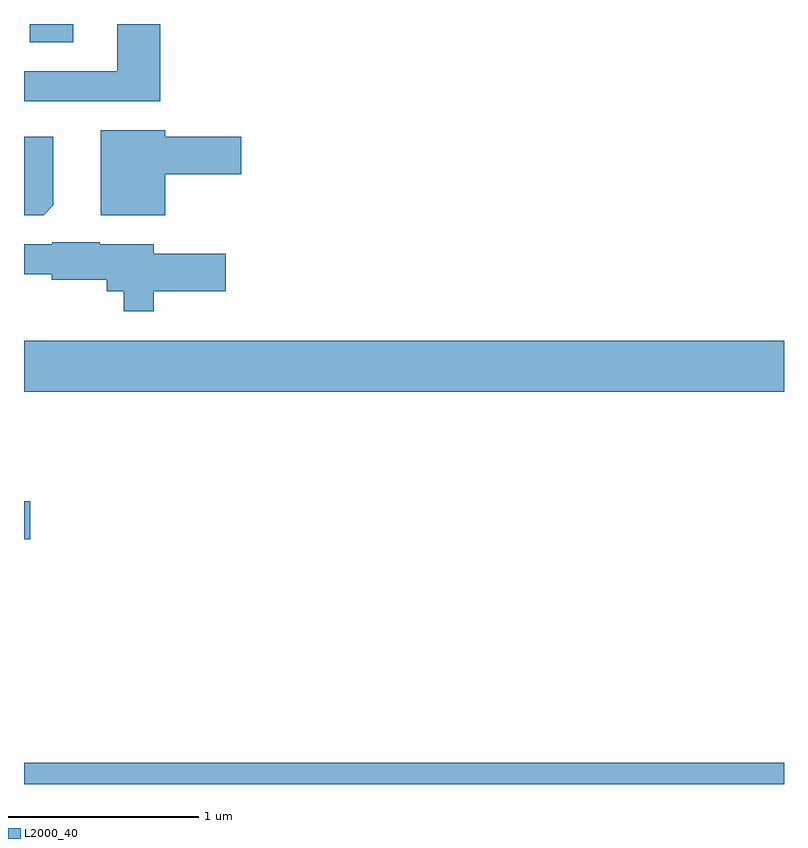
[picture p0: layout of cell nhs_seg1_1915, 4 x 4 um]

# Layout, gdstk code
import gdstk
lib = gdstk.Library(unit=1e-6, precision=1e-09)
def R(c, l, rs):  # rectangles x0, y0, x1, y1
    for r in rs: c.add(gdstk.rectangle(r[:2], r[2:], *l))
def P(c, l, *ps):  # polygons
    for p in ps: c.add(gdstk.Polygon(p, *l))
L2000_40 = (2000, 40)

nhs_seg1_1915 = lib.new_cell('nhs_seg1_1915')
R(nhs_seg1_1915, L2000_40, [(243.611,919.712,247.611,919.824), (243.611,921.001,243.644,921.199), (243.611,921.776,247.611,922.044), (243.641,923.616,243.869,923.712)])
P(nhs_seg1_1915, L2000_40, [(244.329,923.712),(244.101,923.712),(244.101,923.464),(243.611,923.464),(243.611,923.306),(244.329,923.306)],
  [(244.354,922.921),(244.754,922.921),(244.754,923.119),(244.354,923.119),(244.354,923.154),(244.016,923.154),(244.016,922.706),(244.354,922.706)],
  [(243.764,922.757),(243.764,923.119),(243.611,923.119),(243.611,922.706),(243.714,922.706)],
  [(244.294,922.306),(244.674,922.306),(244.674,922.504),(244.294,922.504),(244.294,922.554),(244.01,922.554),(244.01,922.564),(243.76,922.564),(243.76,922.554),(243.611,922.554),(243.611,922.396),(243.756,922.396),(243.756,922.366),(244.046,922.366),(244.046,922.306),(244.136,922.306),(244.136,922.201),(244.294,922.201)])

lib.write_gds('nhs_seg1_1915.gds')
